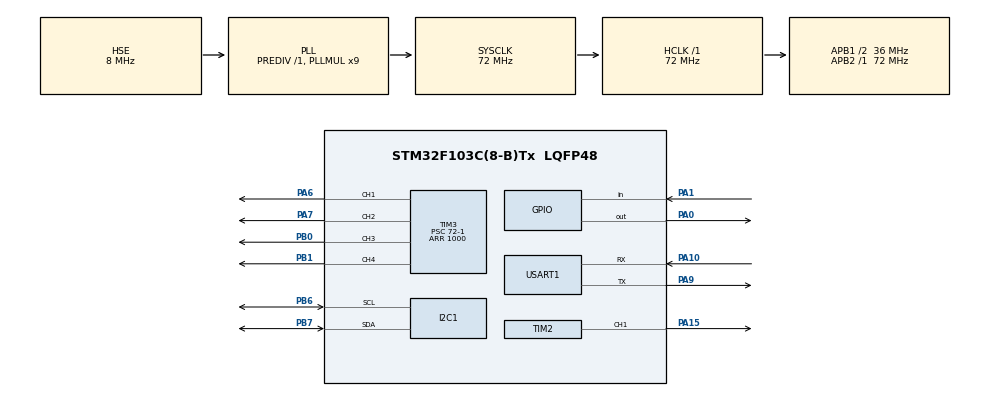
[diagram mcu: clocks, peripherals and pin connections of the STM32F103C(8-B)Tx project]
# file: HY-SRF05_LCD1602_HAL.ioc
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Mcu.Family=STM32F1
Mcu.Name=STM32F103C(8-B)Tx
Mcu.Package=LQFP48
NVIC.PriorityGroup=NVIC_PRIORITYGROUP_4
PA0-WKUP.Signal=GPIO_Output
PA1.GPIO_PuPd=GPIO_PULLDOWN
PA1.Signal=GPIO_Input
PA10.Mode=Asynchronous
PA10.Signal=USART1_RX
PA13.Mode=Serial_Wire
PA13.Signal=SYS_JTMS-SWDIO
PA14.Mode=Serial_Wire
PA14.Signal=SYS_JTCK-SWCLK
PA15.GPIO_Speed=GPIO_SPEED_FREQ_HIGH
PA15.Signal=S_TIM2_CH1_ETR
PA6.GPIO_Speed=GPIO_SPEED_FREQ_HIGH
PA6.Signal=S_TIM3_CH1
PA7.GPIO_Speed=GPIO_SPEED_FREQ_HIGH
PA7.Signal=S_TIM3_CH2
PA9.Mode=Asynchronous
PA9.Signal=USART1_TX
PB0.GPIO_Speed=GPIO_SPEED_FREQ_HIGH
PB0.Signal=S_TIM3_CH3
PB1.GPIO_Speed=GPIO_SPEED_FREQ_HIGH
PB1.Signal=S_TIM3_CH4
PB6.Mode=I2C
PB6.Signal=I2C1_SCL
PB7.Mode=I2C
PB7.Signal=I2C1_SDA
PD0-OSC_IN.Mode=HSE-External-Oscillator
PD0-OSC_IN.Signal=RCC_OSC_IN
PD1-OSC_OUT.Mode=HSE-External-Oscillator
PD1-OSC_OUT.Signal=RCC_OSC_OUT
ProjectManager.HeapSize=0x200
ProjectManager.StackSize=0x400
ProjectManager.TargetToolchain=STM32CubeIDE
RCC.AHBFreq_Value=72000000
RCC.APB1CLKDivider=RCC_HCLK_DIV2
RCC.APB1Freq_Value=36000000
RCC.APB1TimFreq_Value=72000000
RCC.APB2Freq_Value=72000000
RCC.APB2TimFreq_Value=72000000
RCC.HCLKFreq_Value=72000000
RCC.PLLMUL=RCC_PLL_MUL9
RCC.PLLSourceVirtual=RCC_PLLSOURCE_HSE
RCC.SYSCLKFreq_VALUE=72000000
RCC.SYSCLKSource=RCC_SYSCLKSOURCE_PLLCLK
RCC.USBFreq_Value=72000000
SH.S_TIM2_CH1_ETR.0=TIM2_CH1,PWM Generation1 CH1
SH.S_TIM3_CH1.0=TIM3_CH1,PWM Generation1 CH1
SH.S_TIM3_CH2.0=TIM3_CH2,PWM Generation2 CH2
SH.S_TIM3_CH3.0=TIM3_CH3,PWM Generation3 CH3
SH.S_TIM3_CH4.0=TIM3_CH4,PWM Generation4 CH4
TIM2.Channel-PWM\ Generation1\ CH1=TIM_CHANNEL_1
TIM2.Period=333
TIM2.Prescaler=71
TIM3.Channel-PWM\ Generation1\ CH1=TIM_CHANNEL_1
TIM3.Channel-PWM\ Generation2\ CH2=TIM_CHANNEL_2
TIM3.Channel-PWM\ Generation3\ CH3=TIM_CHANNEL_3
TIM3.Channel-PWM\ Generation4\ CH4=TIM_CHANNEL_4
TIM3.Period=1000
TIM3.Prescaler=72-1
USART1.VirtualMode=VM_ASYNC
board=custom

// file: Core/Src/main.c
/* USER CODE BEGIN Header */
/**
  ******************************************************************************
  * @file           : main.c
  * @brief          : Ultrasonic distance meter with LCD1602 and PWM alert system
  ******************************************************************************
  * @attention
  *
  * Copyright (c) 2025 STMicroelectronics.
  * All rights reserved.
  *
  * Licensed under the terms found in the LICENSE file in the root directory
  * of this software component. If no LICENSE file is present, this software is
  * provided AS-IS.
  *
  ******************************************************************************
  */
/* USER CODE END Header */
#include "main.h"
#include "i2c.h"
#include "tim.h"
#include "usart.h"
#include "gpio.h"

/* USER CODE BEGIN Includes */

#include "stdio.h"
#include "lcd1602_i2c_lib.h"
#define TRIG_PIN GPIO_PIN_0
#define TRIG_PORT GPIOA
#define ECHO_PIN GPIO_PIN_1
#define ECHO_PORT GPIOA

/* USER CODE END Includes */

/* USER CODE BEGIN PV */
float distance;
/* USER CODE END PV */

void SystemClock_Config(void);
/* USER CODE BEGIN PFP */
void SystemClock_Config(void);
void DWT_Delay_Init(void);
void DWT_Delay_us(uint32_t us);
float GetDistance(void);

/* DWT delay initialization for microsecond precision */
void DWT_Delay_Init(void) {
    CoreDebug->DEMCR |= CoreDebug_DEMCR_TRCENA_Msk;
    DWT->CYCCNT = 0;
    DWT->CTRL |= DWT_CTRL_CYCCNTENA_Msk;
}

/* Microsecond delay using DWT */
void DWT_Delay_us(uint32_t us) {
    uint32_t start = DWT->CYCCNT;
    uint32_t delayTicks = us * (SystemCoreClock / 1000000);
    while ((DWT->CYCCNT - start) < delayTicks);
}

/* Measures distance using HC-SR04 ultrasonic sensor */
float GetDistance(void) {
    uint32_t startTime, endTime, duration;

    HAL_GPIO_WritePin(TRIG_PORT, TRIG_PIN, GPIO_PIN_RESET);
    DWT_Delay_us(2);
    HAL_GPIO_WritePin(TRIG_PORT, TRIG_PIN, GPIO_PIN_SET);
    DWT_Delay_us(10);
    HAL_GPIO_WritePin(TRIG_PORT, TRIG_PIN, GPIO_PIN_RESET);

    while (HAL_GPIO_ReadPin(ECHO_PORT, ECHO_PIN) == GPIO_PIN_RESET);
    startTime = DWT->CYCCNT;
    while (HAL_GPIO_ReadPin(ECHO_PORT, ECHO_PIN) == GPIO_PIN_SET);
    endTime = DWT->CYCCNT;

    duration = endTime - startTime;
    float time_us = duration / (SystemCoreClock / 1000000.0f);
    return time_us * 0.0343f / 2.0f; // Convert to centimeters
}
/* USER CODE END PFP */

int main(void)
{

  /* MCU Configuration--------------------------------------------------------*/

  /* Reset of all peripherals, Initializes the Flash interface and the Systick. */
  HAL_Init();

  /* Configure the system clock */
  SystemClock_Config();

  /* Initialize all configured peripherals */
  MX_GPIO_Init();
  MX_I2C1_Init();
  MX_USART1_UART_Init();
  MX_TIM3_Init();
  MX_TIM2_Init();
  /* USER CODE BEGIN 2 */
  DWT_Delay_Init();
  lcd1602_Init();
  lcd1602_SetCursor( 0, 0);
  lcd1602_Print_text("Distance:");

  /* Start PWM channels */
  HAL_TIM_PWM_Start(&htim3, TIM_CHANNEL_1); // PA6
  HAL_TIM_PWM_Start(&htim3, TIM_CHANNEL_2); // PA7
  HAL_TIM_PWM_Start(&htim3, TIM_CHANNEL_3); // PB0
  HAL_TIM_PWM_Start(&htim3, TIM_CHANNEL_4); // PB1
  HAL_TIM_PWM_Start(&htim2, TIM_CHANNEL_1); // PA15 (buzzer)
  uint32_t lastLCDUpdate = 0;

  /* USER CODE END 2 */

  /* Infinite loop */
  /* USER CODE BEGIN WHILE */
  while (1)
  {
	  distance = GetDistance();
	  /* Update LCD every 400 ms */
	  if (HAL_GetTick() - lastLCDUpdate >= 400)
	 {
	  lastLCDUpdate = HAL_GetTick(); // Remembering the time of the last update

	  char buffer[16];
	  snprintf(buffer, sizeof(buffer), "%.2f cm", distance);
	  lcd1602_SetCursor( 0, 1);
	  lcd1602_Clean();  // Clear second line
	  lcd1602_Print_text(buffer);
	 }

	  /* PWM control logic */
      uint32_t duty1 = 0, duty2 = 0, duty3 = 0, duty4 = 0;
      uint32_t buzzerDuty = 0;  // Borehole for the buzzer

      if (distance <= 40.0f) {
          float step = 40.0f / 4.0f;  // divide 40 cm into 4 zones of 10 cm each.

          if (distance > step * 3) {
              duty1 = (400 / step) * (40 - distance); // Smooth build-up CH1
              duty2 = 0;
              duty3 = 0;
              duty4 = 0;
              buzzerDuty = 30; // 3% at 40 cm
          } else if (distance > step * 2) {
              duty1 = 400;
              duty2 = (400 / step) * (30 - distance); // Smooth build-up CH2
              duty3 = 0;
              duty4 = 0;
              buzzerDuty = 150; // 15% at 30 cm
          } else if (distance > step * 1) {
              duty1 = 400;
              duty2 = 400;
              duty3 = (1000 / step) * (20 - distance); // Smooth build-up CH3
              duty4 = 0;
              buzzerDuty = 300; // 30% at 20 cm
          } else {
              duty1 = 400;
              duty2 = 400;
              duty3 = 1000;
              duty4 = (1000 / step) * (10 - distance); // Smooth build-up CH4
              buzzerDuty = 700; // 70% at 10 cm
          }
         } else {
              buzzerDuty = 0; // Turn off buzzer if > 40 см
      }

      /* Update PWM outputs */
      __HAL_TIM_SET_COMPARE(&htim3, TIM_CHANNEL_1, duty1);
      __HAL_TIM_SET_COMPARE(&htim3, TIM_CHANNEL_2, duty2);
      __HAL_TIM_SET_COMPARE(&htim3, TIM_CHANNEL_3, duty3);
      __HAL_TIM_SET_COMPARE(&htim3, TIM_CHANNEL_4, duty4);
      __HAL_TIM_SET_COMPARE(&htim2, TIM_CHANNEL_1, buzzerDuty);

      HAL_Delay(50);
    /* USER CODE END WHILE */

  }
}

void SystemClock_Config(void)
{
  RCC_OscInitTypeDef RCC_OscInitStruct = {0};
  RCC_ClkInitTypeDef RCC_ClkInitStruct = {0};

  /** Initializes the RCC Oscillators according to the specified parameters
  * in the RCC_OscInitTypeDef structure.
  */
  RCC_OscInitStruct.OscillatorType = RCC_OSCILLATORTYPE_HSE;
  RCC_OscInitStruct.HSEState = RCC_HSE_ON;
  RCC_OscInitStruct.HSEPredivValue = RCC_HSE_PREDIV_DIV1;
  RCC_OscInitStruct.HSIState = RCC_HSI_ON;
  RCC_OscInitStruct.PLL.PLLState = RCC_PLL_ON;
  RCC_OscInitStruct.PLL.PLLSource = RCC_PLLSOURCE_HSE;
  RCC_OscInitStruct.PLL.PLLMUL = RCC_PLL_MUL9;
  if (HAL_RCC_OscConfig(&RCC_OscInitStruct) != HAL_OK)
  {
    Error_Handler();
  }

  /** Initializes the CPU, AHB and APB buses clocks
  */
  RCC_ClkInitStruct.ClockType = RCC_CLOCKTYPE_HCLK|RCC_CLOCKTYPE_SYSCLK
                              |RCC_CLOCKTYPE_PCLK1|RCC_CLOCKTYPE_PCLK2;
  RCC_ClkInitStruct.SYSCLKSource = RCC_SYSCLKSOURCE_PLLCLK;
  RCC_ClkInitStruct.AHBCLKDivider = RCC_SYSCLK_DIV1;
  RCC_ClkInitStruct.APB1CLKDivider = RCC_HCLK_DIV2;
  RCC_ClkInitStruct.APB2CLKDivider = RCC_HCLK_DIV1;

  if (HAL_RCC_ClockConfig(&RCC_ClkInitStruct, FLASH_LATENCY_2) != HAL_OK)
  {
    Error_Handler();
  }
}

void Error_Handler(void)
{
  /* USER CODE BEGIN Error_Handler_Debug */
  /* User can add his own implementation to report the HAL error return state */
  __disable_irq();
  while (1){
	  // Stay here on error
  }
  /* USER CODE END Error_Handler_Debug */
}
